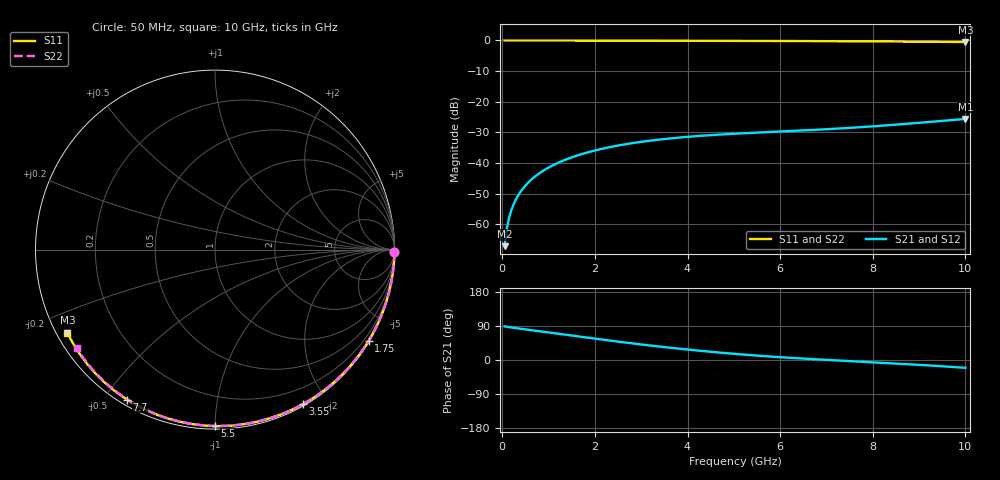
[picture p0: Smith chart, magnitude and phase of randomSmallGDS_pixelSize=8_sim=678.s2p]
! freq	dB(S11)	phase(S11)	dB(S12)	phase(S12)
!  dB(S21)	phase(S21)	dB(S22)	phase(S22)
!S-par simulation data
#  GHz  S  DB  R 50
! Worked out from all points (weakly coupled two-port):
!   200 points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, 50 MHz to 10 GHz, reference 50 ohm
!   highest |S21| = -25.59 dB at 10 GHz (marker M1); lowest = -67.1 dB at 50 MHz (marker M2)
!   lowest |S11| = -0.5 dB at 10 GHz (marker M3), VSWR 34.69, Z = 1.54 - j13.1 ohm
!   |S11| at or under -10 dB: nowhere
!   |S22| runs from -0.5 to 0.0 dB; largest |S21 - S12| = 0
!   S11 on the Smith chart (normalised r, x): 50 MHz: open; 1.75 GHz: 0.03, -3.65; 3.55 GHz: 0.02, -1.72; 5.5 GHz: 0.02, -1.00; 7.7 GHz: 0.02, -0.57; 10 GHz: 0.03, -0.26
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0.05  -0.00 -0.9  -67.09 88.8  -67.09 88.8  -0.00 -0.9
0.1  -0.00 -1.8  -61.10 87.7  -61.10 87.7  -0.00 -1.7
0.15  -0.00 -2.7  -57.62 86.7  -57.62 86.7  -0.00 -2.6
0.2  -0.00 -3.6  -55.15 85.8  -55.15 85.8  -0.00 -3.4
0.25  -0.00 -4.5  -53.24 84.9  -53.24 84.9  -0.00 -4.3
0.35  -0.00 -6.2  -50.37 83.2  -50.37 83.2  -0.00 -6.0
0.5  -0.01 -8.9  -47.32 80.8  -47.32 80.8  -0.01 -8.5
0.7  -0.01 -12.4  -44.45 77.5  -44.45 77.5  -0.01 -11.9
1  -0.02 -17.7  -41.44 72.5  -41.44 72.5  -0.02 -16.9
1.35  -0.03 -23.8  -38.97 66.7  -38.97 66.7  -0.03 -22.7
1.75  -0.04 -30.7  -36.90 60.2  -36.90 60.2  -0.04 -29.3
2.5  -0.06 -43.3  -34.27 48.4  -34.27 48.4  -0.05 -41.5
3.4  -0.08 -58.0  -32.31 35.4  -32.31 35.4  -0.08 -55.6
3.55  -0.08 -60.4  -32.06 33.4  -32.06 33.4  -0.08 -57.9
4.3  -0.10 -72.2  -31.09 24.0  -31.09 24.0  -0.10 -69.1
5.05  -0.13 -83.4  -30.39 15.9  -30.39 15.9  -0.13 -80.0
5.5  -0.15 -90.0  -30.04 11.6  -30.04 11.6  -0.14 -86.4
6.7  -0.21 -106.9  -29.19 2.4  -29.19 2.4  -0.20 -102.6
7.7  -0.28 -120.4  -28.32 -4.0  -28.32 -4.0  -0.26 -115.6
8.35  -0.33 -129.0  -27.63 -8.1  -27.63 -8.1  -0.32 -123.8
9.2  -0.41 -140.1  -26.61 -14.2  -26.61 -14.2  -0.40 -134.5
10  -0.50 -150.6  -25.59 -20.7  -25.59 -20.7  -0.48 -144.4
